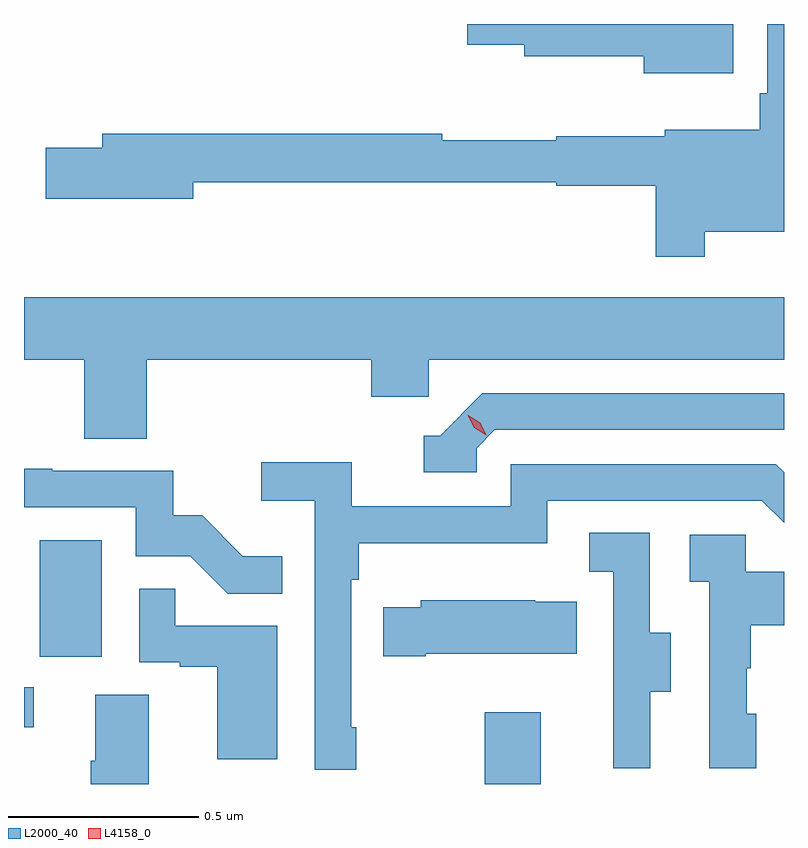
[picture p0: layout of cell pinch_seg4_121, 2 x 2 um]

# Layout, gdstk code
import gdstk
lib = gdstk.Library(unit=1e-6, precision=1e-09)
def R(c, l, rs):  # rectangles x0, y0, x1, y1
    for r in rs: c.add(gdstk.rectangle(r[:2], r[2:], *l))
def P(c, l, *ps):  # polygons
    for p in ps: c.add(gdstk.Polygon(p, *l))
L2000_40 = (2000, 40)
L4158_0 = (4158, 0)

pinch_seg4_121 = lib.new_cell('pinch_seg4_121')
R(pinch_seg4_121, L2000_40, [(1072.696,803.695,1072.843,803.884), (1071.483,803.844,1071.508,803.949), (1071.524,804.03,1071.688,804.337)])
P(pinch_seg4_121, L2000_40, [(1073.35,805.695),(1072.65,805.695),(1072.65,805.64),(1072.799,805.64),(1072.799,805.61),(1073.114,805.61),(1073.114,805.565),(1073.35,805.565)],
  [(1073.275,805.148),(1073.483,805.148),(1073.483,805.695),(1073.439,805.695),(1073.439,805.513),(1073.419,805.513),(1073.419,805.417),(1073.169,805.417),(1073.169,805.399),(1072.884,805.399),(1072.884,805.389),(1072.584,805.389),(1072.584,805.406),(1071.689,805.406),(1071.689,805.37),(1071.54,805.37),(1071.54,805.235),(1071.928,805.235),(1071.928,805.278),(1072.884,805.278),(1072.884,805.27),(1073.146,805.27),(1073.146,805.083),(1073.275,805.083)],
  [(1071.806,804.812),(1072.397,804.812),(1072.397,804.714),(1072.548,804.714),(1072.548,804.812),(1073.483,804.812),(1073.483,804.976),(1071.483,804.976),(1071.483,804.812),(1071.641,804.812),(1071.641,804.604),(1071.806,804.604)],
  [(1072.674,804.579),(1072.722,804.627),(1073.483,804.627),(1073.483,804.723),(1072.689,804.723),(1072.578,804.612),(1072.535,804.612),(1072.535,804.516),(1072.674,804.516)],
  [(1072.357,803.845),(1072.344,803.845),(1072.344,804.233),(1072.364,804.233),(1072.364,804.329),(1072.86,804.329),(1072.86,804.441),(1073.424,804.441),(1073.483,804.382),(1073.483,804.515),(1073.461,804.537),(1072.764,804.537),(1072.764,804.426),(1072.346,804.426),(1072.346,804.542),(1072.107,804.542),(1072.107,804.44),(1072.248,804.44),(1072.248,803.733),(1072.357,803.733)],
  [(1072.163,804.295),(1072.059,804.295),(1071.952,804.402),(1071.876,804.402),(1071.876,804.519),(1071.557,804.519),(1071.557,804.524),(1071.483,804.524),(1071.483,804.423),(1071.777,804.423),(1071.777,804.294),(1071.921,804.294),(1072.019,804.196),(1072.163,804.196)],
  [(1073.131,803.938),(1073.185,803.938),(1073.185,804.093),(1073.13,804.093),(1073.13,804.356),(1072.971,804.356),(1072.971,804.253),(1073.034,804.253),(1073.034,803.949),(1073.033,803.949),(1073.033,803.736),(1073.131,803.736)],
  [(1073.41,803.88),(1073.385,803.88),(1073.385,803.999),(1073.395,803.999),(1073.395,804.113),(1073.483,804.113),(1073.483,804.253),(1073.382,804.253),(1073.382,804.351),(1073.235,804.351),(1073.235,804.227),(1073.286,804.227),(1073.286,803.736),(1073.41,803.736)],
  [(1072.15,804.111),(1071.881,804.111),(1071.881,804.209),(1071.786,804.209),(1071.786,804.015),(1071.893,804.015),(1071.893,804.003),(1071.992,804.003),(1071.992,803.76),(1072.15,803.76)],
  [(1072.54,804.038),(1072.937,804.038),(1072.937,804.175),(1072.829,804.175),(1072.829,804.178),(1072.527,804.178),(1072.527,804.16),(1072.429,804.16),(1072.429,804.031),(1072.54,804.031)],
  [(1071.811,803.93),(1071.671,803.93),(1071.671,803.756),(1071.659,803.756),(1071.659,803.695),(1071.811,803.695)])
P(pinch_seg4_121, L4158_0, [(1072.699,804.613),(1072.668,804.633),(1072.651,804.666),(1072.651,804.666),(1072.652,804.666),(1072.683,804.646),(1072.699,804.614),(1072.699,804.613)])

lib.write_gds('pinch_seg4_121.gds')
